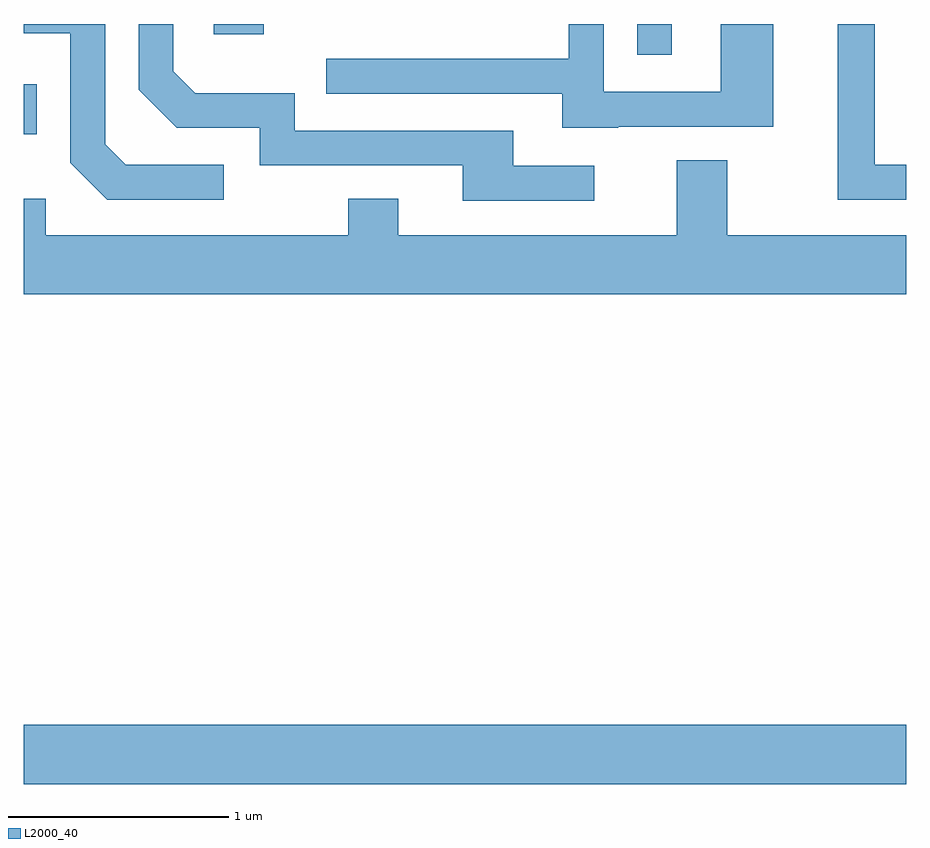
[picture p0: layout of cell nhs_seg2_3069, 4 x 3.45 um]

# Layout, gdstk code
import gdstk
lib = gdstk.Library(unit=1e-6, precision=1e-09)
def R(c, l, rs):  # rectangles x0, y0, x1, y1
    for r in rs: c.add(gdstk.rectangle(r[:2], r[2:], *l))
def P(c, l, *ps):  # polygons
    for p in ps: c.add(gdstk.Polygon(p, *l))
L2000_40 = (2000, 40)

nhs_seg2_3069 = lib.new_cell('nhs_seg2_3069')
R(nhs_seg2_3069, L2000_40, [(275.611,1008.356,279.611,1008.624), (275.611,1011.301,275.669,1011.529), (278.391,1011.663,278.549,1011.802), (276.471,1011.756,276.699,1011.802)])
P(nhs_seg2_3069, L2000_40, [(276.518,1011.164),(276.072,1011.164),(275.979,1011.257),(275.979,1011.802),(275.611,1011.802),(275.611,1011.761),(275.821,1011.761),(275.821,1011.174),(275.989,1011.006),(276.518,1011.006)],
  [(278.198,1011.159),(277.829,1011.159),(277.829,1011.319),(276.839,1011.319),(276.839,1011.489),(276.387,1011.489),(276.289,1011.587),(276.289,1011.802),(276.131,1011.802),(276.131,1011.504),(276.304,1011.331),(276.681,1011.331),(276.681,1011.161),(277.601,1011.161),(277.601,1011.001),(278.198,1011.001)],
  [(278.305,1011.336),(279.009,1011.336),(279.009,1011.802),(278.771,1011.802),(278.771,1011.494),(278.239,1011.494),(278.239,1011.802),(278.081,1011.802),(278.081,1011.644),(276.983,1011.644),(276.983,1011.486),(278.051,1011.486),(278.051,1011.331),(278.305,1011.331)],
  [(279.611,1011.164),(279.469,1011.164),(279.469,1011.802),(279.301,1011.802),(279.301,1011.006),(279.611,1011.006)],
  [(279.611,1010.844),(278.799,1010.844),(278.799,1011.184),(278.571,1011.184),(278.571,1010.844),(277.309,1010.844),(277.309,1011.009),(277.081,1011.009),(277.081,1010.844),(275.709,1010.844),(275.709,1011.009),(275.611,1011.009),(275.611,1010.576),(279.611,1010.576)])

lib.write_gds('nhs_seg2_3069.gds')
